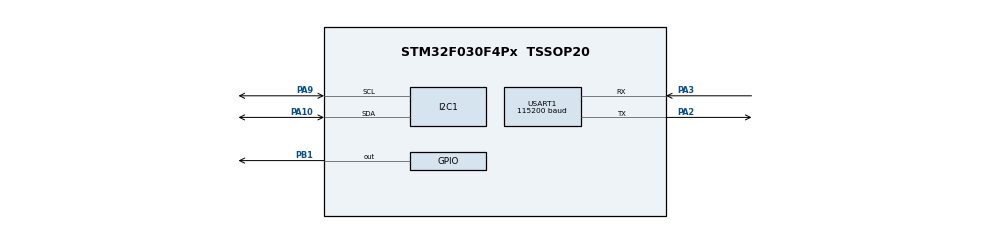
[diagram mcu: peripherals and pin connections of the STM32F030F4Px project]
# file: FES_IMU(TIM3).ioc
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Dma.Request0=USART1_RX
Dma.USART1_RX.0.Direction=DMA_PERIPH_TO_MEMORY
Dma.USART1_RX.0.Instance=DMA1_Channel3
Dma.USART1_RX.0.MemDataAlignment=DMA_MDATAALIGN_BYTE
Dma.USART1_RX.0.MemInc=DMA_MINC_ENABLE
Dma.USART1_RX.0.Mode=DMA_NORMAL
Dma.USART1_RX.0.PeriphDataAlignment=DMA_PDATAALIGN_BYTE
Dma.USART1_RX.0.PeriphInc=DMA_PINC_DISABLE
Dma.USART1_RX.0.Priority=DMA_PRIORITY_LOW
Mcu.Family=STM32F0
Mcu.Name=STM32F030F4Px
Mcu.Package=TSSOP20
NVIC.DMA1_Channel2_3_IRQn=true\:0\:0\:false\:false\:true\:false
NVIC.TIM3_IRQn=true\:0\:0\:false\:false\:true\:true
PA10.Mode=I2C
PA10.Signal=I2C1_SDA
PA2.Mode=Asynchronous
PA2.Signal=USART1_TX
PA3.Mode=Asynchronous
PA3.Signal=USART1_RX
PA9.Mode=I2C
PA9.Signal=I2C1_SCL
PB1.Signal=GPIO_Output
ProjectManager.HeapSize=0x200
ProjectManager.StackSize=0x400
ProjectManager.TargetToolchain=MDK-ARM V5
TIM3.Period=1925
TIM3.Prescaler=64
USART1.BaudRate=115200
USART1.VirtualMode-Asynchronous=VM_ASYNC
VP_TIM3_VS_ClockSourceINT.Mode=Internal
board=custom

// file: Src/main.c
/**
  ******************************************************************************
  * @file           : main.c
  * @brief          : Main program body
  ******************************************************************************
  ** This notice applies to any and all portions of this file
  * that are not between comment pairs USER CODE BEGIN and
  * USER CODE END. Other portions of this file, whether
  * inserted by the user or by software development tools
  * are owned by their respective copyright owners.
  *
  * COPYRIGHT(c) 2018 STMicroelectronics
  *
  * Redistribution and use in source and binary forms, with or without modification,
  * are permitted provided that the following conditions are met:
  *   1. Redistributions of source code must retain the above copyright notice,
  *      this list of conditions and the following disclaimer.
  *   2. Redistributions in binary form must reproduce the above copyright notice,
  *      this list of conditions and the following disclaimer in the documentation
  *      and/or other materials provided with the distribution.
  *   3. Neither the name of STMicroelectronics nor the names of its contributors
  *      may be used to endorse or promote products derived from this software
  *      without specific prior written permission.
  *
  * THIS SOFTWARE IS PROVIDED BY THE COPYRIGHT HOLDERS AND CONTRIBUTORS "AS IS"
  * AND ANY EXPRESS OR IMPLIED WARRANTIES, INCLUDING, BUT NOT LIMITED TO, THE
  * IMPLIED WARRANTIES OF MERCHANTABILITY AND FITNESS FOR A PARTICULAR PURPOSE ARE
  * DISCLAIMED. IN NO EVENT SHALL THE COPYRIGHT HOLDER OR CONTRIBUTORS BE LIABLE
  * FOR ANY DIRECT, INDIRECT, INCIDENTAL, SPECIAL, EXEMPLARY, OR CONSEQUENTIAL
  * DAMAGES (INCLUDING, BUT NOT LIMITED TO, PROCUREMENT OF SUBSTITUTE GOODS OR
  * SERVICES; LOSS OF USE, DATA, OR PROFITS; OR BUSINESS INTERRUPTION) HOWEVER
  * CAUSED AND ON ANY THEORY OF LIABILITY, WHETHER IN CONTRACT, STRICT LIABILITY,
  * OR TORT (INCLUDING NEGLIGENCE OR OTHERWISE) ARISING IN ANY WAY OUT OF THE USE
  * OF THIS SOFTWARE, EVEN IF ADVISED OF THE POSSIBILITY OF SUCH DAMAGE.
  *
  ******************************************************************************
  */
#include "main.h"
#include "stm32f0xx_hal.h"

/* USER CODE BEGIN Includes */
#include <math.h>
#include <stdlib.h>
/* USER CODE END Includes */

I2C_HandleTypeDef hi2c1;

TIM_HandleTypeDef htim3;

UART_HandleTypeDef huart1;
DMA_HandleTypeDef hdma_usart1_rx;

/* USER CODE BEGIN PV */
/* Private variables ---------------------------------------------------------*/
#define mpu9250Address	0xD0			//(0x68<<1|0)
#define ACC_SENSITIVITY 16384.0
#define GYR_SENSITIVITY 65.5
#define dt 0.01       						//sampling rate
#define SAMPLES 128      					//Must be a power of 2
#define SAMPLING_FREQUENCY 64		 	//Hz
#define M_PI 3.141592654
#define SAMPLES 128       //Must be a power of 2
#define SAMPLING_FREQUENCY 64 //Hz
/* USER CODE END PV */

void SystemClock_Config(void);
static void MX_GPIO_Init(void);
static void MX_DMA_Init(void);
static void MX_I2C1_Init(void);
static void MX_TIM3_Init(void);
static void MX_USART1_UART_Init(void);

/* USER CODE BEGIN PFP */
/* Private function prototypes -----------------------------------------------*/
int fputc(int ch,FILE *f);
void MPU_Config(void);
void I2C_readData(void);
void ComplementaryFilter(void);
void Windowing(double *vData, int samples);
uint8_t Exponent(uint16_t value);
void Swap(double *x, double *y);
void Compute(double *vReal, double *vImag, uint16_t samples, uint8_t power);
void ComplexToMagnitude(double *vReal, double *vImag, uint16_t samples);
double MajorPeak(double *vD, uint16_t samples, int samplingFreq);
/* USER CODE END PFP */

/* USER CODE BEGIN 0 */
uint8_t i2cBuf[8];
int16_t aX, aY, aZ, gX, gY, gZ;
//float accelX_9250, accelY_9250, accelZ_9250, gyroX_9250, gyroY_9250, gyroZ_9250;
float pitch, roll;
double rData[SAMPLES], iData[SAMPLES];

void HAL_TIM_PeriodElapsedCallback(TIM_HandleTypeDef *htim){
	if(htim->Instance == TIM3){
		static int n  = 0;
		I2C_readData();
		ComplementaryFilter();
		rData[n] = pitch;

		if(++n == SAMPLES){
			Windowing(rData, SAMPLES);
			Compute(rData, iData, SAMPLES, Exponent(SAMPLES));
			ComplexToMagnitude(rData, iData, SAMPLING_FREQUENCY);
			double peak = MajorPeak(rData, SAMPLES, SAMPLING_FREQUENCY);
			int freq = round(peak);
			float amplitude = ((float)rData[freq] - (int)rData[freq])*100;
			printf(" \t%d \t%d.%d", freq, (int)rData[freq], (int)amplitude);
			for(int i = 0; i<SAMPLES; i++){
				iData[i] = 0;
			}

			n = 0;
		}
		printf("\r\n");
	}
}
/* USER CODE END 0 */

int main(void)
{

  /* MCU Configuration----------------------------------------------------------*/

  /* Reset of all peripherals, Initializes the Flash interface and the Systick. */
  HAL_Init();

  /* Configure the system clock */
  SystemClock_Config();

  /* Initialize all configured peripherals */
  MX_GPIO_Init();
  MX_DMA_Init();
  MX_I2C1_Init();
  MX_TIM3_Init();
  MX_USART1_UART_Init();
  /* USER CODE BEGIN 2 */
	for(int i = 0; i<SAMPLES; i++){
    rData[i] = 0;
    iData[i] = 0;
  }

	for(uint8_t i = 0; i<255; i++){
		if(HAL_I2C_IsDeviceReady(&hi2c1, i, 1, 10) == HAL_OK){
			//HAL_GPIO_TogglePin(GPIOB, GPIO_PIN_1);
			break;
		}
	}
	//2. i2c write example
	//a) MPU_Config
	MPU_Config();
	HAL_TIM_Base_Start_IT(&htim3);
  /* USER CODE END 2 */

  /* Infinite loop */
  while (1)
  {

  }

}

void SystemClock_Config(void)
{

  RCC_OscInitTypeDef RCC_OscInitStruct;
  RCC_ClkInitTypeDef RCC_ClkInitStruct;
  RCC_PeriphCLKInitTypeDef PeriphClkInit;

    /**Initializes the CPU, AHB and APB busses clocks
    */
  RCC_OscInitStruct.OscillatorType = RCC_OSCILLATORTYPE_HSI;
  RCC_OscInitStruct.HSIState = RCC_HSI_ON;
  RCC_OscInitStruct.HSICalibrationValue = 16;
  RCC_OscInitStruct.PLL.PLLState = RCC_PLL_NONE;
  if (HAL_RCC_OscConfig(&RCC_OscInitStruct) != HAL_OK)
  {
    _Error_Handler(__FILE__, __LINE__);
  }

    /**Initializes the CPU, AHB and APB busses clocks
    */
  RCC_ClkInitStruct.ClockType = RCC_CLOCKTYPE_HCLK|RCC_CLOCKTYPE_SYSCLK
                              |RCC_CLOCKTYPE_PCLK1;
  RCC_ClkInitStruct.SYSCLKSource = RCC_SYSCLKSOURCE_HSI;
  RCC_ClkInitStruct.AHBCLKDivider = RCC_SYSCLK_DIV1;
  RCC_ClkInitStruct.APB1CLKDivider = RCC_HCLK_DIV1;

  if (HAL_RCC_ClockConfig(&RCC_ClkInitStruct, FLASH_LATENCY_0) != HAL_OK)
  {
    _Error_Handler(__FILE__, __LINE__);
  }

  PeriphClkInit.PeriphClockSelection = RCC_PERIPHCLK_USART1|RCC_PERIPHCLK_I2C1;
  PeriphClkInit.Usart1ClockSelection = RCC_USART1CLKSOURCE_PCLK1;
  PeriphClkInit.I2c1ClockSelection = RCC_I2C1CLKSOURCE_HSI;
  if (HAL_RCCEx_PeriphCLKConfig(&PeriphClkInit) != HAL_OK)
  {
    _Error_Handler(__FILE__, __LINE__);
  }

    /**Configure the Systick interrupt time
    */
  HAL_SYSTICK_Config(HAL_RCC_GetHCLKFreq()/1000);

    /**Configure the Systick
    */
  HAL_SYSTICK_CLKSourceConfig(SYSTICK_CLKSOURCE_HCLK);

  /* SysTick_IRQn interrupt configuration */
  HAL_NVIC_SetPriority(SysTick_IRQn, 0, 0);
}

/* I2C1 init function */
static void MX_I2C1_Init(void)
{

  hi2c1.Instance = I2C1;
  hi2c1.Init.Timing = 0x2000090E;
  hi2c1.Init.OwnAddress1 = 0;
  hi2c1.Init.AddressingMode = I2C_ADDRESSINGMODE_7BIT;
  hi2c1.Init.DualAddressMode = I2C_DUALADDRESS_DISABLE;
  hi2c1.Init.OwnAddress2 = 0;
  hi2c1.Init.OwnAddress2Masks = I2C_OA2_NOMASK;
  hi2c1.Init.GeneralCallMode = I2C_GENERALCALL_DISABLE;
  hi2c1.Init.NoStretchMode = I2C_NOSTRETCH_DISABLE;
  if (HAL_I2C_Init(&hi2c1) != HAL_OK)
  {
    _Error_Handler(__FILE__, __LINE__);
  }

    /**Configure Analogue filter
    */
  if (HAL_I2CEx_ConfigAnalogFilter(&hi2c1, I2C_ANALOGFILTER_ENABLE) != HAL_OK)
  {
    _Error_Handler(__FILE__, __LINE__);
  }

    /**Configure Digital filter
    */
  if (HAL_I2CEx_ConfigDigitalFilter(&hi2c1, 0) != HAL_OK)
  {
    _Error_Handler(__FILE__, __LINE__);
  }

}

/* TIM3 init function */
static void MX_TIM3_Init(void)
{

  TIM_ClockConfigTypeDef sClockSourceConfig;
  TIM_MasterConfigTypeDef sMasterConfig;

  htim3.Instance = TIM3;
  htim3.Init.Prescaler = 64;
  htim3.Init.CounterMode = TIM_COUNTERMODE_UP;
  htim3.Init.Period = 1925;
  htim3.Init.ClockDivision = TIM_CLOCKDIVISION_DIV1;
  htim3.Init.AutoReloadPreload = TIM_AUTORELOAD_PRELOAD_DISABLE;
  if (HAL_TIM_Base_Init(&htim3) != HAL_OK)
  {
    _Error_Handler(__FILE__, __LINE__);
  }

  sClockSourceConfig.ClockSource = TIM_CLOCKSOURCE_INTERNAL;
  if (HAL_TIM_ConfigClockSource(&htim3, &sClockSourceConfig) != HAL_OK)
  {
    _Error_Handler(__FILE__, __LINE__);
  }

  sMasterConfig.MasterOutputTrigger = TIM_TRGO_RESET;
  sMasterConfig.MasterSlaveMode = TIM_MASTERSLAVEMODE_DISABLE;
  if (HAL_TIMEx_MasterConfigSynchronization(&htim3, &sMasterConfig) != HAL_OK)
  {
    _Error_Handler(__FILE__, __LINE__);
  }

}

/* USART1 init function */
static void MX_USART1_UART_Init(void)
{

  huart1.Instance = USART1;
  huart1.Init.BaudRate = 115200;
  huart1.Init.WordLength = UART_WORDLENGTH_8B;
  huart1.Init.StopBits = UART_STOPBITS_1;
  huart1.Init.Parity = UART_PARITY_NONE;
  huart1.Init.Mode = UART_MODE_TX_RX;
  huart1.Init.HwFlowCtl = UART_HWCONTROL_NONE;
  huart1.Init.OverSampling = UART_OVERSAMPLING_16;
  huart1.Init.OneBitSampling = UART_ONE_BIT_SAMPLE_DISABLE;
  huart1.AdvancedInit.AdvFeatureInit = UART_ADVFEATURE_NO_INIT;
  if (HAL_UART_Init(&huart1) != HAL_OK)
  {
    _Error_Handler(__FILE__, __LINE__);
  }

}

static void MX_DMA_Init(void)
{
  /* DMA controller clock enable */
  __HAL_RCC_DMA1_CLK_ENABLE();

  /* DMA interrupt init */
  /* DMA1_Channel2_3_IRQn interrupt configuration */
  HAL_NVIC_SetPriority(DMA1_Channel2_3_IRQn, 0, 0);
  HAL_NVIC_EnableIRQ(DMA1_Channel2_3_IRQn);

}

/** Configure pins as
        * Analog
        * Input
        * Output
        * EVENT_OUT
        * EXTI
*/
static void MX_GPIO_Init(void)
{

  GPIO_InitTypeDef GPIO_InitStruct;

  /* GPIO Ports Clock Enable */
  __HAL_RCC_GPIOA_CLK_ENABLE();
  __HAL_RCC_GPIOB_CLK_ENABLE();

  /*Configure GPIO pin Output Level */
  HAL_GPIO_WritePin(GPIOB, GPIO_PIN_1, GPIO_PIN_RESET);

  /*Configure GPIO pin : PB1 */
  GPIO_InitStruct.Pin = GPIO_PIN_1;
  GPIO_InitStruct.Mode = GPIO_MODE_OUTPUT_PP;
  GPIO_InitStruct.Pull = GPIO_NOPULL;
  GPIO_InitStruct.Speed = GPIO_SPEED_FREQ_LOW;
  HAL_GPIO_Init(GPIOB, &GPIO_InitStruct);

}

/* USER CODE BEGIN 4 */
int fputc(int ch,FILE *f){
    uint8_t temp[1]={ch};
    HAL_UART_Transmit(&huart1,temp,1,2);
		return ch;
}

void MPU_Config(){
	i2cBuf[0] = 0x6B;			//PWR_MGMT_1
	i2cBuf[1] = 0x00;			//prevent sleep mode
	HAL_I2C_Master_Transmit(&hi2c1, mpu9250Address, i2cBuf, 2, 10);

	i2cBuf[0] = 0x1B;			//ACCEL_CONFIG
	i2cBuf[1] = 0x08;			//range: +-500 deg/sec
	HAL_I2C_Master_Transmit(&hi2c1, mpu9250Address, i2cBuf, 2, 10);

	i2cBuf[0] = 0x1C;			//ACCEL_CONFIG
	i2cBuf[1] = 0x00;			//range: +-2g
	HAL_I2C_Master_Transmit(&hi2c1, mpu9250Address, i2cBuf, 2, 10);
}

void I2C_readData(){
	i2cBuf[0] = 0x3B; 		//read accelX request
		HAL_I2C_Master_Transmit(&hi2c1, mpu9250Address, i2cBuf, 1, 10);
		i2cBuf[1] = 0x00;
		HAL_I2C_Master_Receive(&hi2c1, mpu9250Address, &i2cBuf[1], 6, 10);
		aX = (i2cBuf[1]<<8 | i2cBuf[2]);
		aY = (i2cBuf[3]<<8 | i2cBuf[4]);
		aZ = (i2cBuf[5]<<8 | i2cBuf[6]);

		i2cBuf[0] = 0x43; 		//read gyroX request
		HAL_I2C_Master_Transmit(&hi2c1, mpu9250Address, i2cBuf, 1, 10);
		i2cBuf[1] = 0x00;
		HAL_I2C_Master_Receive(&hi2c1, mpu9250Address, &i2cBuf[1], 6, 10);
		gX = (i2cBuf[1]<<8 | i2cBuf[2]);
		gY = (i2cBuf[3]<<8 | i2cBuf[4]);
		gZ = (i2cBuf[5]<<8 | i2cBuf[6]);
		printf("%d \t%d \t%d \t%d \t%d \t%d", aX, aY, aZ, gX, gY, gZ);
}

void ComplementaryFilter(){
  float pitchAcc, rollAcc;
  // Integrate the gyroscope data -> int(angularSpeed) = angle
  pitch += ((float)gX / GYR_SENSITIVITY) * dt; // Angle around the X-axis
  roll -= ((float)gY / GYR_SENSITIVITY) * dt;    // Angle around the Y-axis

  // Compensate for drift with accelerometer data if !bullshit
  // Sensitivity = -2 to 2 G at 16Bit -> 2G = 32768 && 0.5G = 8192
  int forceMagnitudeApprox = abs(aX) + abs(aY) + abs(aZ);

  if (forceMagnitudeApprox > 8192 && forceMagnitudeApprox < 32768)
  {
    // Turning around the X axis results in a vector on the Y-axis
    pitchAcc = atan2f((float)aY, (float)aZ) * 180.0 / M_PI;
    pitch = pitch * 0.98 + pitchAcc * 0.02;

    // Turning around the Y axis results in a vector on the X-axis
    rollAcc = atan2f((float)aX, (float)aZ) * 180.0 / M_PI;
    roll = roll * 0.98 + rollAcc * 0.02;
    //printf("pitch:%d roll:%d\r\n", (int)pitch, (int)roll);
  }
}

void Windowing(double *vData, int samples){
  for(int i = 0; i<samples; i++){
    double ratio = (double)i/((double)samples-1);
    double weighingFactor = 1.0;
    weighingFactor = 0.54 - (0.46 * cos(2 * M_PI * ratio));
    vData[i] *= weighingFactor;
    vData[samples - (i+1)] *= weighingFactor;
  }
}

uint8_t Exponent(uint16_t value){
  uint8_t result = 0;
  while(((value >> result) & 1) != 1) result++;
  return result;
}

void Swap(double *x, double *y){
  double temp = *x;
  *x = *y;
  *y = temp;
}

void Compute(double *vReal, double *vImag, uint16_t samples, uint8_t power){
  // Computes in-place complex-to-complex FFT
  // Reverse bits
  uint16_t j = 0;
  for (uint16_t i = 0; i < (samples - 1); i++) {
    if (i < j) {
      Swap(&vReal[i], &vReal[j]);
    }
    uint16_t k = (samples >> 1);
    while (k <= j) {
      j -= k;
      k >>= 1;
    }
    j += k;
  }

  // Compute the FFT
  double c1 = -1.0;
  double c2 = 0.0;
  uint16_t l2 = 1;
  for (uint8_t l = 0; (l < power); l++) {
    uint16_t l1 = l2;
    l2 <<= 1;
    double u1 = 1.0;
    double u2 = 0.0;
    for (j = 0; j < l1; j++) {
      for (uint16_t i = j; i < samples; i += l2) {
        uint16_t i1 = i + l1;
        double t1 = u1 * vReal[i1] - u2 * vImag[i1];
        double t2 = u1 * vImag[i1] + u2 * vReal[i1];
        vReal[i1] = vReal[i] - t1;
        vImag[i1] = vImag[i] - t2;
        vReal[i] += t1;
        vImag[i] += t2;
      }
      double z = ((u1 * c1) - (u2 * c2));
      u2 = ((u1 * c2) + (u2 * c1));
      u1 = z;
    }
    c2 = sqrt((1.0 - c1) / 2.0);
    c2 = -c2;
    c1 = sqrt((1.0 + c1) / 2.0);
  }
}

void ComplexToMagnitude(double *vReal, double *vImag, uint16_t samples){
  for(uint16_t i = 0; i<samples; i++){
    vReal[i] = sqrt(vReal[i]*vReal[i] + vImag[i]*vImag[i]);
  }
}

double MajorPeak(double *vD, uint16_t samples, int samplingFreq){
  int maxY = 0;
  uint16_t IndexOfMaxY = 0;
  for(uint16_t i = 1; i < ((samples >> 1)+1); i++){
    if ((vD[i-1] < vD[i]) && (vD[i] > vD[i+1])) {
      if (vD[i] > maxY) {
        maxY = vD[i];
        IndexOfMaxY = i;
      }
    }
  }

  double delta = 0.5 * ((vD[IndexOfMaxY-1] - vD[IndexOfMaxY+1]) / (vD[IndexOfMaxY-1] - (2.0 * vD[IndexOfMaxY]) + vD[IndexOfMaxY+1]));
  double interpolatedX = ((IndexOfMaxY + delta)  * (double)samplingFreq) / (samples-1);

  if(IndexOfMaxY==(samples >> 1)) //To improve calculation on edge values
  interpolatedX = ((IndexOfMaxY + delta)  * (double)samplingFreq) / (samples);

  // returned value: interpolated frequency peak apex
  return(interpolatedX);
}
/* USER CODE END 4 */

void _Error_Handler(char *file, int line)
{
  while(1)
  {
  }
}

/************************ (C) COPYRIGHT STMicroelectronics *****END OF FILE****/
